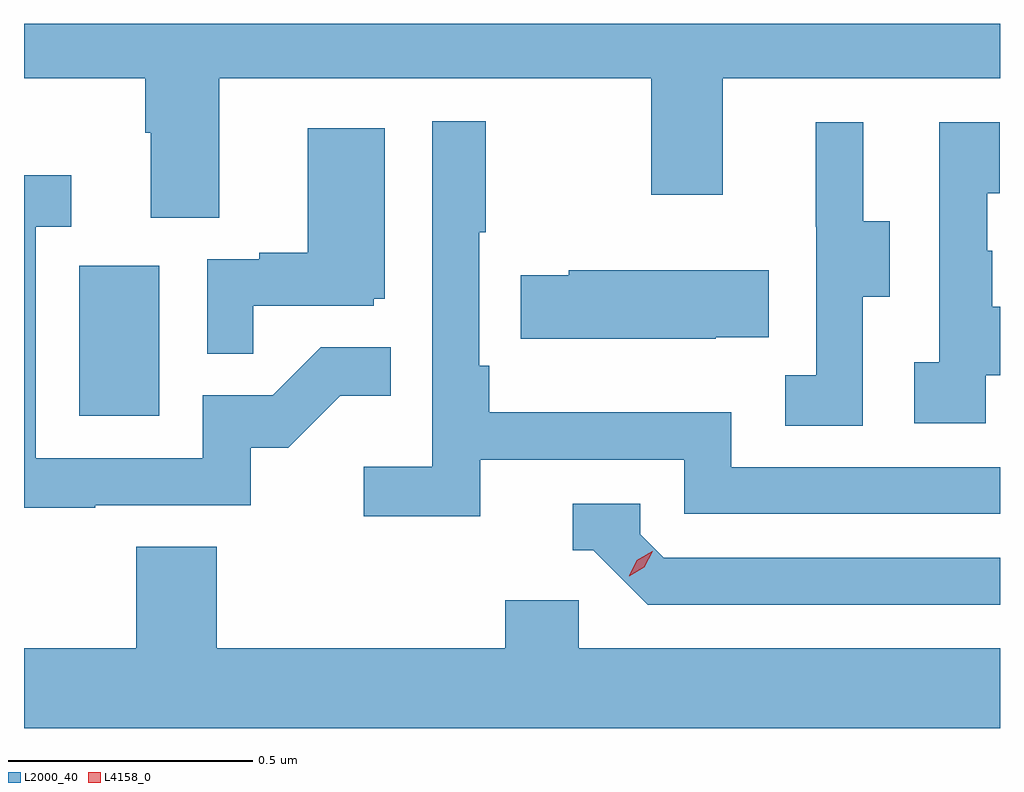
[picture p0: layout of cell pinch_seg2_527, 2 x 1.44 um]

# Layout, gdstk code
import gdstk
lib = gdstk.Library(unit=1e-6, precision=1e-09)
def R(c, l, rs):  # rectangles x0, y0, x1, y1
    for r in rs: c.add(gdstk.rectangle(r[:2], r[2:], *l))
def P(c, l, *ps):  # polygons
    for p in ps: c.add(gdstk.Polygon(p, *l))
L2000_40 = (2000, 40)
L4158_0 = (4158, 0)

pinch_seg2_527 = lib.new_cell('pinch_seg2_527')
R(pinch_seg2_527, L2000_40, [(1008.698,589.668,1008.862,589.975)])
P(pinch_seg2_527, L2000_40, [(1008.985,590.36),(1009.87,590.36),(1009.87,590.121),(1010.017,590.121),(1010.017,590.36),(1010.585,590.36),(1010.585,590.471),(1008.585,590.471),(1008.585,590.36),(1008.833,590.36),(1008.833,590.248),(1008.845,590.248),(1008.845,590.074),(1008.985,590.074)],
  [(1009.52,589.578),(1009.938,589.578),(1009.938,589.467),(1010.585,589.467),(1010.585,589.563),(1010.034,589.563),(1010.034,589.675),(1009.538,589.675),(1009.538,589.771),(1009.518,589.771),(1009.518,590.044),(1009.531,590.044),(1009.531,590.272),(1009.422,590.272),(1009.422,589.564),(1009.281,589.564),(1009.281,589.462),(1009.52,589.462)],
  [(1010.304,589.912),(1010.359,589.912),(1010.359,590.067),(1010.305,590.067),(1010.305,590.269),(1010.207,590.269),(1010.207,590.055),(1010.208,590.055),(1010.208,589.751),(1010.145,589.751),(1010.145,589.648),(1010.304,589.648)],
  [(1010.556,589.751),(1010.585,589.751),(1010.585,589.891),(1010.569,589.891),(1010.569,590.006),(1010.559,590.006),(1010.559,590.124),(1010.584,590.124),(1010.584,590.269),(1010.46,590.269),(1010.46,589.778),(1010.409,589.778),(1010.409,589.653),(1010.556,589.653)],
  [(1009.055,589.893),(1009.302,589.893),(1009.302,589.908),(1009.324,589.908),(1009.324,590.257),(1009.166,590.257),(1009.166,590.002),(1009.067,590.002),(1009.067,589.989),(1008.96,589.989),(1008.96,589.795),(1009.055,589.795)],
  [(1008.731,589.485),(1009.05,589.485),(1009.05,589.602),(1009.126,589.602),(1009.233,589.709),(1009.337,589.709),(1009.337,589.808),(1009.193,589.808),(1009.095,589.71),(1008.951,589.71),(1008.951,589.581),(1008.609,589.581),(1008.609,590.055),(1008.682,590.055),(1008.682,590.161),(1008.585,590.161),(1008.585,589.48),(1008.731,589.48)],
  [(1010.003,589.829),(1010.111,589.829),(1010.111,589.966),(1009.701,589.966),(1009.701,589.956),(1009.603,589.956),(1009.603,589.826),(1010.003,589.826)],
  [(1010.585,589.377),(1009.896,589.377),(1009.848,589.425),(1009.848,589.488),(1009.709,589.488),(1009.709,589.392),(1009.752,589.392),(1009.863,589.281),(1010.585,589.281)],
  [(1010.585,589.192),(1009.722,589.192),(1009.722,589.29),(1009.571,589.29),(1009.571,589.192),(1008.98,589.192),(1008.98,589.4),(1008.815,589.4),(1008.815,589.192),(1008.585,589.192),(1008.585,589.028),(1010.585,589.028)])
P(pinch_seg2_527, L4158_0, [(1009.825,589.339),(1009.825,589.34),(1009.841,589.372),(1009.872,589.39),(1009.873,589.39),(1009.873,589.39),(1009.856,589.358),(1009.825,589.339)])

lib.write_gds('pinch_seg2_527.gds')
